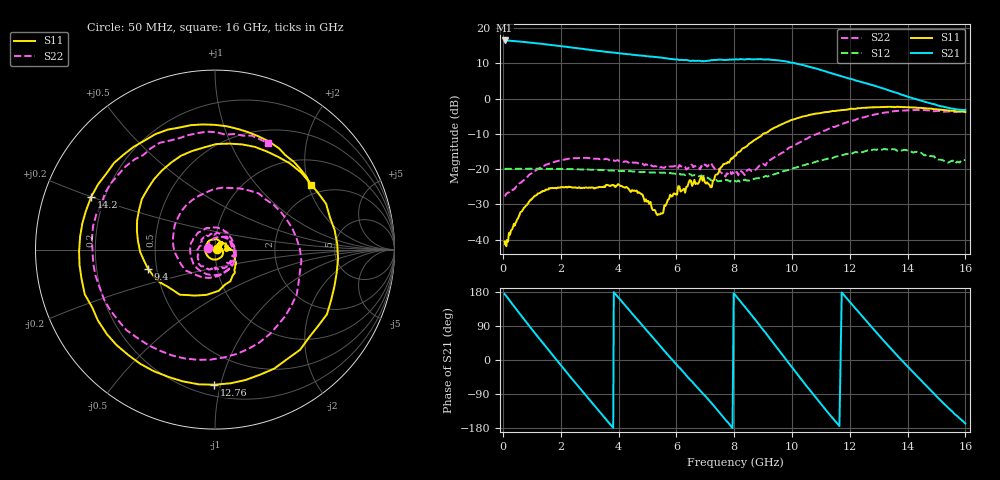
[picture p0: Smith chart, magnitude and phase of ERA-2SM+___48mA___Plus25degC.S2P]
! Mini-Circuits
! S2P DATA File Format
! Type: MMIC Amplifier
! Model: ERA-2SM  Reference Data:RDF-874AA
! Note: All S Parameters are in dB deg format
! TEST CONDITIONS: INPUT POWER = -20dBm, Icc = 48mA, Vd = 3.45V @Temperature = +25degC
! 401 Frequency points
# MHz S DB R 50
!  FREQ  dB(S11)  PHS(S11)  dB(S21)  PHS(S21)  dB(S12)  PHS(S12)  dB(S22)  PHS(S22)
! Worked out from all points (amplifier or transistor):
!   401 points, 50 MHz to 16 GHz, reference 50 ohm
!   highest |S21| = 16.5 dB at 50 MHz (marker M1)
!   |S21| within 3 dB of that: start of sweep to 3.354 GHz
!   unconditionally stable (mu >= 1): start of sweep to 10.44 GHz; 15.17 GHz to end of sweep
!   at 1.37 GHz: K = 1.11, MAG = 15.6 dB, |S12| = -19.9 dB
!   at 4.1 GHz: K = 1.39, MAG = 12.9 dB, |S12| = -20.5 dB
!   at 16 GHz: K = 1.39, MAG = 3.4 dB, |S12| = -17.4 dB
!   S11 on the Smith chart (normalised r, x): 50 MHz: 1.02, +0.01; 9.4 GHz: 0.45, -0.11; 12.76 GHz: 0.28, -0.96; 14.2 GHz: 0.15, +0.20; 16 GHz: 1.67, +2.07
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50  -40.52 20.8  16.49 174.4  -19.88 -3.7  -27.65 170.2
810  -30.23 18.9  15.98 99.0  -19.87 -56.4  -22.33 67.2
1610  -25.48 -43.3  15.26 22.3  -19.89 -112.6  -18.37 -15.5
2090  -25.17 -86.7  14.78 -22.7  -19.93 -146.4  -17.34 -60.7
2710  -25.32 -152.1  14.14 -79.9  -20.05 169.6  -16.87 -116.5
3350  -25.08 142.6  13.49 -138.0  -20.23 124.1  -17.20 -172.8
3850  -24.81 94.9  13.02 177.3  -20.40 88.8  -17.59 144.2
4620  -26.08 44.1  12.30 108.9  -20.75 33.8  -18.15 82.9
5380  -32.74 39.5  11.68 41.9  -21.02 -19.9  -19.23 26.9
6060  -24.84 49.0  11.01 -17.5  -21.14 -69.6  -19.60 -17.7
6820  -22.66 16.0  10.70 -81.5  -21.90 -123.6  -20.07 -89.0
7380  -21.51 -1.9  10.92 -129.1  -23.06 -162.2  -20.14 -162.7
8060  -16.11 -46.5  11.14 169.4  -23.50 156.0  -20.89 107.1
8760  -11.46 -107.8  11.17 103.2  -22.61 114.9  -20.02 5.1
9400  -8.21 -164.2  10.93 40.0  -21.37 74.4  -16.57 -83.2
9960  -6.10 145.4  10.21 -15.6  -20.05 34.7  -13.71 -156.5
10760  -4.36 75.5  8.69 -93.1  -18.07 -27.8  -10.35 114.6
11640  -3.33 2.9  6.50 -174.5  -16.24 -100.0  -7.47 29.4
12760  -2.47 -90.2  3.88 86.7  -14.57 162.8  -4.68 -71.3
13400  -2.33 -142.0  2.21 32.0  -14.45 104.9  -3.75 -124.8
14200  -2.50 157.0  0.05 -32.9  -15.32 35.9  -3.24 175.5
16000  -3.83 34.2  -3.19 -167.6  -17.44 -82.9  -3.56 63.9
